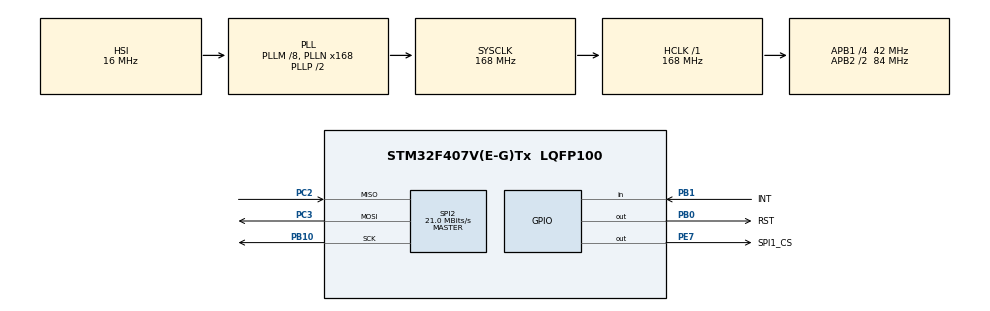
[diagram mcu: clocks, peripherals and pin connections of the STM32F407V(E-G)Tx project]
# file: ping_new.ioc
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Mcu.Family=STM32F4
PC3.Mode=Full_Duplex_Master
PE7.GPIO_PuPd=GPIO_PULLUP
PH0-OSC_IN.Signal=RCC_OSC_IN
RCC.CortexFreq_Value=168000000
SPI2.VirtualType=VM_MASTER
PB10.Mode=Full_Duplex_Master
PC2.Signal=SPI2_MISO
PC2.Mode=Full_Duplex_Master
PB0.GPIO_Label=RST
RCC.APB1CLKDivider=RCC_HCLK_DIV4
RCC.SYSCLKSource=RCC_SYSCLKSOURCE_PLLCLK
ProjectManager.StackSize=0x400
PA13.Signal=SYS_JTMS-SWDIO
ProjectManager.TargetToolchain=STM32CubeIDE
RCC.HCLKFreq_Value=168000000
RCC.APB2TimFreq_Value=168000000
PC3.Signal=SPI2_MOSI
RCC.LSE_VALUE=32768
RCC.AHBFreq_Value=168000000
PH0-OSC_IN.Mode=HSE-External-Oscillator
PB10.Signal=SPI2_SCK
RCC.HSE_VALUE=25000000
PB3.Mode=Trace_Asynchronous_SW
board=custom
RCC.VCOOutputFreq_Value=336000000
RCC.APB2Freq_Value=84000000
VP_TIM2_VS_ClockSourceINT.Mode=Internal
PA14.Mode=Trace_Asynchronous_SW
PB1.GPIO_Label=INT
SPI2.CalculateBaudRate=21.0 MBits/s
PH1-OSC_OUT.Signal=RCC_OSC_OUT
TIM2.Period=1000
PA13.Mode=Trace_Asynchronous_SW
Mcu.Name=STM32F407V(E-G)Tx
PE7.GPIO_Label=SPI1_CS
PH1-OSC_OUT.Mode=HSE-External-Oscillator
RCC.48MHZClocksFreq_Value=84000000
PB3.Signal=SYS_JTDO-SWO
RCC.SYSCLKFreq_VALUE=168000000
Mcu.Package=LQFP100
TIM2.Prescaler=41999
PB1.Signal=GPIO_Input
SPI2.Mode=SPI_MODE_MASTER
PA14.Signal=SYS_JTCK-SWCLK
ProjectManager.HeapSize=0x200
RCC.HSI_VALUE=16000000
NVIC.PriorityGroup=NVIC_PRIORITYGROUP_4
RCC.APB2CLKDivider=RCC_HCLK_DIV2
RCC.PLLM=8
RCC.PLLN=168
RCC.APB1TimFreq_Value=84000000
SPI2.Direction=SPI_DIRECTION_2LINES
PE7.Signal=GPIO_Output
RCC.APB1Freq_Value=42000000
PB0.Signal=GPIO_Output

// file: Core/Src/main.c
/* USER CODE BEGIN Header */
/**
 ******************************************************************************
 * @file           : main.c
 * @brief          : Main program body
 ******************************************************************************
 * @attention
 *
 * <h2><center>&copy; Copyright (c) 2021 STMicroelectronics.
 * All rights reserved.</center></h2>
 *
 * This software component is licensed by ST under BSD 3-Clause license,
 * the "License"; You may not use this file except in compliance with the
 * License. You may obtain a copy of the License at:
 *                        opensource.org/licenses/BSD-3-Clause
 *
 ******************************************************************************
 */
/* USER CODE END Header */
#include "main.h"

/* USER CODE BEGIN Includes */
#include "socket.h"
#include <stdio.h>
#include <string.h>

#include "w5500.h"
#include "wizchip_conf.h"
#include "loopback.h"

#define HTTP_SOCKET     0
#define PORT_TCPS		5000
#define DATA_BUF_SIZE   2048
uint8_t gDATABUF[DATA_BUF_SIZE];
/* USER CODE END Includes */

SPI_HandleTypeDef hspi2;

TIM_HandleTypeDef htim2;

/* USER CODE BEGIN PV */

wiz_NetInfo gWIZNETINFO = { .mac = { 0x00, 0x08, 0xdc, 0xab, 0xcd, 0xef }, .ip =
		{ 192, 168, 18, 117 }, .sn = { 255, 255, 255, 0 }, .gw = { 192, 168, 18,
		1 }, .dns = { 0, 0, 0, 0 }, .dhcp = NETINFO_STATIC };
/*
 wiz_NetInfo gWIZNETINFO = { .mac = {0xEA, 0x11, 0x22, 0x33, 0x44, 0xEA},
 .dhcp = NETINFO_DHCP };

 */
void W5500_Select(void) {
	HAL_GPIO_WritePin(SPI1_CS_GPIO_Port, SPI1_CS_Pin, GPIO_PIN_RESET);
}

void W5500_Unselect(void) {
	HAL_GPIO_WritePin(SPI1_CS_GPIO_Port, SPI1_CS_Pin, GPIO_PIN_SET);
}

void W5500_ReadBuff(uint8_t *buff, uint16_t len) {
	HAL_SPI_Receive(&hspi2, buff, len, HAL_MAX_DELAY);
}

void W5500_WriteBuff(uint8_t *buff, uint16_t len) {
	HAL_SPI_Transmit(&hspi2, buff, len, HAL_MAX_DELAY);
}

uint8_t W5500_ReadByte(void) {
	uint8_t byte;
	W5500_ReadBuff(&byte, sizeof(byte));
	return byte;
}

void W5500_WriteByte(uint8_t byte) {
	W5500_WriteBuff(&byte, sizeof(byte));
}

uint8_t stat;
uint8_t reqnr;
char Message[128];

/* USER CODE END PV */

void SystemClock_Config(void);
static void MX_GPIO_Init(void);
static void MX_SPI2_Init(void);
static void MX_TIM2_Init(void);

/* USER CODE BEGIN 0 */
/*-----------------------------for prinf--------------------------------------*/
int _write(int file, uint8_t *ptr, int len) {
	for (int DataIdx = 0; DataIdx < len; DataIdx++) {
		ITM_SendChar(*ptr++);
	}
	return len;
}
/*-----------------------------End prinf--------------------------------------*/
/* USER CODE END 0 */

int main(void)
{

  /* MCU Configuration--------------------------------------------------------*/

  /* Reset of all peripherals, Initializes the Flash interface and the Systick. */
  HAL_Init();

  /* Configure the system clock */
  SystemClock_Config();

  /* Initialize all configured peripherals */
  MX_GPIO_Init();
  MX_SPI2_Init();
  MX_TIM2_Init();
  /* USER CODE BEGIN 2 */

	HAL_GPIO_WritePin(RST_GPIO_Port, RST_Pin, GPIO_PIN_RESET);
	HAL_Delay(1);
	HAL_GPIO_WritePin(RST_GPIO_Port, RST_Pin, GPIO_PIN_SET);
	HAL_Delay(1000);

	reg_wizchip_cs_cbfunc(W5500_Select, W5500_Unselect);
	reg_wizchip_spi_cbfunc(W5500_ReadByte, W5500_WriteByte);
	reg_wizchip_spiburst_cbfunc(W5500_ReadBuff, W5500_WriteBuff);

	uint8_t rx_tx_buff_sizes[] = { 2, 2, 2, 2, 2, 2, 2, 2 };

	wizchip_init(rx_tx_buff_sizes, rx_tx_buff_sizes);

	wizchip_setnetinfo(&gWIZNETINFO);

	ctlnetwork(CN_SET_NETINFO, (void*) &gWIZNETINFO);
	HAL_Delay(1000);
  /* USER CODE END 2 */

  /* Infinite loop */
  /* USER CODE BEGIN WHILE */
	while (1) {
		printf("\r\n=== NET CONFIGURATION ===\r\n");
		printf("MAC: %02X:%02X:%02X:%02X:%02X:%02X\r\n", gWIZNETINFO.mac[0],gWIZNETINFO.mac[1],gWIZNETINFO.mac[2],gWIZNETINFO.mac[3],gWIZNETINFO.mac[4],gWIZNETINFO.mac[5]);
		printf("IP: %d.%d.%d.%d\r\n", gWIZNETINFO.ip[0], gWIZNETINFO.ip[1],gWIZNETINFO.ip[2], gWIZNETINFO.ip[3]);
		printf("GW: %d.%d.%d.%d\r\n", gWIZNETINFO.gw[0], gWIZNETINFO.gw[1],gWIZNETINFO.gw[2], gWIZNETINFO.gw[3]);
		printf("SN: %d.%d.%d.%d\r\n", gWIZNETINFO.sn[0], gWIZNETINFO.sn[1],gWIZNETINFO.sn[2], gWIZNETINFO.sn[3]);
		printf("DNS: %d.%d.%d.%d\r\n", gWIZNETINFO.dns[0], gWIZNETINFO.dns[1],gWIZNETINFO.dns[2], gWIZNETINFO.dns[3]);
		printf("=========================\r\n");
    /* USER CODE END WHILE */

    /* USER CODE BEGIN 3 */
		printf("Creating socket...\r\n");
		stat = socket(HTTP_SOCKET, Sn_MR_TCP, 80, 0); // Создаем http сокет
		if (stat != HTTP_SOCKET)
			printf("socket() failed, code = %d\r\n", stat);
		else
			printf("Socket created, connecting...\r\n");

		stat = listen(HTTP_SOCKET); // Слушаем созданный сокет http
		if (stat != SOCK_OK)
			printf("listen() failed, code = %d\r\n", stat);
		else
			printf("listen() OK\r\n");

		while (getSn_SR(HTTP_SOCKET) == SOCK_LISTEN) { // В бесконечном цикле проверяем слушается ли
			HAL_Delay(2);// наш сокет или нет. Если слушают то подождем 2 милл.сек.
		}

		printf("Input connection\r\n"); // Если не слушают а устанавливают соединение то пишем что, у нас входящее соединение.
		if (getSn_SR(HTTP_SOCKET) != SOCK_ESTABLISHED)
			printf("Error socket status\r\n");

		uint8_t rIP[4];
		getsockopt(HTTP_SOCKET, SO_DESTIP, rIP);
		printf("IP:  %d.%d.%d.%d\r\n", rIP[0], rIP[1], rIP[2], rIP[3]); // Вывод IP того кто с нами связался.

		sprintf(Message, "input connection nr - %d", reqnr);

		send(0, (uint8_t*) Message, strlen(Message)); // Отправляем сообщение тому кто открыл соединение с нами.

		disconnect(HTTP_SOCKET);                      // Разрываем соединение

		printf("Closing socket.\r\n");
		close(HTTP_SOCKET);                           // Закрываем сокет

		HAL_Delay(1000);
		reqnr++;                                      // Увеличиваем счетчик.
	}
  /* USER CODE END 3 */
}

void SystemClock_Config(void)
{
  RCC_OscInitTypeDef RCC_OscInitStruct = {0};
  RCC_ClkInitTypeDef RCC_ClkInitStruct = {0};

  /** Configure the main internal regulator output voltage
  */
  __HAL_RCC_PWR_CLK_ENABLE();
  __HAL_PWR_VOLTAGESCALING_CONFIG(PWR_REGULATOR_VOLTAGE_SCALE1);
  /** Initializes the RCC Oscillators according to the specified parameters
  * in the RCC_OscInitTypeDef structure.
  */
  RCC_OscInitStruct.OscillatorType = RCC_OSCILLATORTYPE_HSI;
  RCC_OscInitStruct.HSIState = RCC_HSI_ON;
  RCC_OscInitStruct.HSICalibrationValue = RCC_HSICALIBRATION_DEFAULT;
  RCC_OscInitStruct.PLL.PLLState = RCC_PLL_ON;
  RCC_OscInitStruct.PLL.PLLSource = RCC_PLLSOURCE_HSI;
  RCC_OscInitStruct.PLL.PLLM = 8;
  RCC_OscInitStruct.PLL.PLLN = 168;
  RCC_OscInitStruct.PLL.PLLP = RCC_PLLP_DIV2;
  RCC_OscInitStruct.PLL.PLLQ = 4;
  if (HAL_RCC_OscConfig(&RCC_OscInitStruct) != HAL_OK)
  {
    Error_Handler();
  }
  /** Initializes the CPU, AHB and APB buses clocks
  */
  RCC_ClkInitStruct.ClockType = RCC_CLOCKTYPE_HCLK|RCC_CLOCKTYPE_SYSCLK
                              |RCC_CLOCKTYPE_PCLK1|RCC_CLOCKTYPE_PCLK2;
  RCC_ClkInitStruct.SYSCLKSource = RCC_SYSCLKSOURCE_PLLCLK;
  RCC_ClkInitStruct.AHBCLKDivider = RCC_SYSCLK_DIV1;
  RCC_ClkInitStruct.APB1CLKDivider = RCC_HCLK_DIV4;
  RCC_ClkInitStruct.APB2CLKDivider = RCC_HCLK_DIV2;

  if (HAL_RCC_ClockConfig(&RCC_ClkInitStruct, FLASH_LATENCY_5) != HAL_OK)
  {
    Error_Handler();
  }
}

static void MX_SPI2_Init(void)
{

  /* SPI2 parameter configuration*/
  hspi2.Instance = SPI2;
  hspi2.Init.Mode = SPI_MODE_MASTER;
  hspi2.Init.Direction = SPI_DIRECTION_2LINES;
  hspi2.Init.DataSize = SPI_DATASIZE_8BIT;
  hspi2.Init.CLKPolarity = SPI_POLARITY_LOW;
  hspi2.Init.CLKPhase = SPI_PHASE_1EDGE;
  hspi2.Init.NSS = SPI_NSS_SOFT;
  hspi2.Init.BaudRatePrescaler = SPI_BAUDRATEPRESCALER_2;
  hspi2.Init.FirstBit = SPI_FIRSTBIT_MSB;
  hspi2.Init.TIMode = SPI_TIMODE_DISABLE;
  hspi2.Init.CRCCalculation = SPI_CRCCALCULATION_DISABLE;
  hspi2.Init.CRCPolynomial = 10;
  if (HAL_SPI_Init(&hspi2) != HAL_OK)
  {
    Error_Handler();
  }

}

static void MX_TIM2_Init(void)
{

  TIM_ClockConfigTypeDef sClockSourceConfig = {0};
  TIM_MasterConfigTypeDef sMasterConfig = {0};

  htim2.Instance = TIM2;
  htim2.Init.Prescaler = 41999;
  htim2.Init.CounterMode = TIM_COUNTERMODE_UP;
  htim2.Init.Period = 1000;
  htim2.Init.ClockDivision = TIM_CLOCKDIVISION_DIV1;
  htim2.Init.AutoReloadPreload = TIM_AUTORELOAD_PRELOAD_DISABLE;
  if (HAL_TIM_Base_Init(&htim2) != HAL_OK)
  {
    Error_Handler();
  }
  sClockSourceConfig.ClockSource = TIM_CLOCKSOURCE_INTERNAL;
  if (HAL_TIM_ConfigClockSource(&htim2, &sClockSourceConfig) != HAL_OK)
  {
    Error_Handler();
  }
  sMasterConfig.MasterOutputTrigger = TIM_TRGO_RESET;
  sMasterConfig.MasterSlaveMode = TIM_MASTERSLAVEMODE_DISABLE;
  if (HAL_TIMEx_MasterConfigSynchronization(&htim2, &sMasterConfig) != HAL_OK)
  {
    Error_Handler();
  }

}

static void MX_GPIO_Init(void)
{
  GPIO_InitTypeDef GPIO_InitStruct = {0};

  /* GPIO Ports Clock Enable */
  __HAL_RCC_GPIOH_CLK_ENABLE();
  __HAL_RCC_GPIOC_CLK_ENABLE();
  __HAL_RCC_GPIOB_CLK_ENABLE();
  __HAL_RCC_GPIOE_CLK_ENABLE();
  __HAL_RCC_GPIOA_CLK_ENABLE();

  /*Configure GPIO pin Output Level */
  HAL_GPIO_WritePin(RST_GPIO_Port, RST_Pin, GPIO_PIN_RESET);

  /*Configure GPIO pin Output Level */
  HAL_GPIO_WritePin(SPI1_CS_GPIO_Port, SPI1_CS_Pin, GPIO_PIN_RESET);

  /*Configure GPIO pin : RST_Pin */
  GPIO_InitStruct.Pin = RST_Pin;
  GPIO_InitStruct.Mode = GPIO_MODE_OUTPUT_PP;
  GPIO_InitStruct.Pull = GPIO_NOPULL;
  GPIO_InitStruct.Speed = GPIO_SPEED_FREQ_LOW;
  HAL_GPIO_Init(RST_GPIO_Port, &GPIO_InitStruct);

  /*Configure GPIO pin : INT_Pin */
  GPIO_InitStruct.Pin = INT_Pin;
  GPIO_InitStruct.Mode = GPIO_MODE_INPUT;
  GPIO_InitStruct.Pull = GPIO_NOPULL;
  HAL_GPIO_Init(INT_GPIO_Port, &GPIO_InitStruct);

  /*Configure GPIO pin : SPI1_CS_Pin */
  GPIO_InitStruct.Pin = SPI1_CS_Pin;
  GPIO_InitStruct.Mode = GPIO_MODE_OUTPUT_PP;
  GPIO_InitStruct.Pull = GPIO_PULLUP;
  GPIO_InitStruct.Speed = GPIO_SPEED_FREQ_LOW;
  HAL_GPIO_Init(SPI1_CS_GPIO_Port, &GPIO_InitStruct);

}

void Error_Handler(void)
{
	__disable_irq();
	while (1) {
	}
}

/************************ (C) COPYRIGHT STMicroelectronics *****END OF FILE****/
